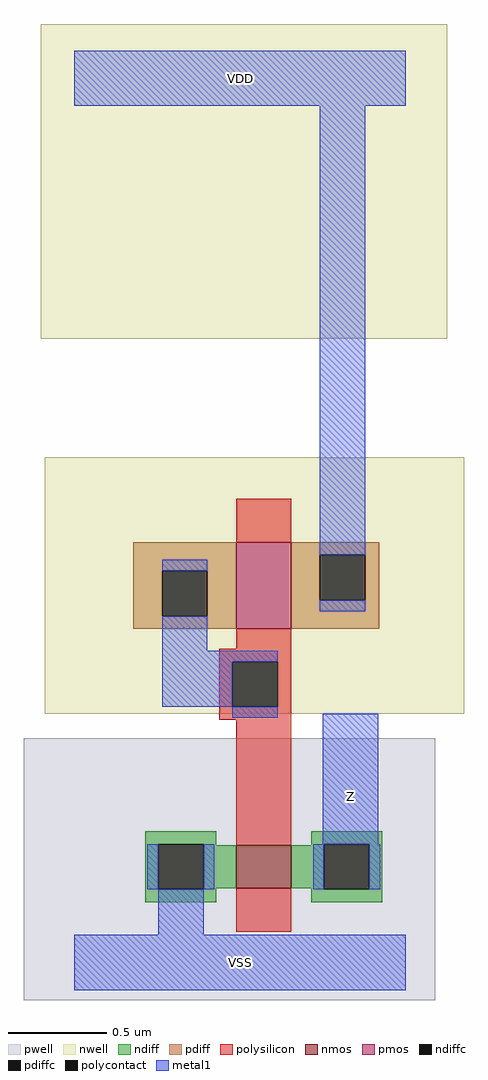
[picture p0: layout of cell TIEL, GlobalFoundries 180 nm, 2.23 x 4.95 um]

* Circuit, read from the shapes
.subckt TIEL VSS VDD Z
XM1 Z n1 VSS VSUBS nfet_03v3 w=0.22u l=0.28u
XM2 VDD n1 n1 n2 pfet_03v3 w=0.44u l=0.28u
.ends

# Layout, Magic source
magic
tech gf180mcuD
magscale 1 10
<< nwell >>
rect -34 632 378 951
rect -30 252 395 512
<< pwell >>
rect -51 -38 366 227
<< nmos >>
rect 164 75 220 119
<< pmos >>
rect 164 338 220 426
<< ndiff >>
rect 72 120 144 133
rect 72 74 85 120
rect 131 119 144 120
rect 240 120 312 133
rect 240 119 253 120
rect 131 75 164 119
rect 220 75 253 119
rect 131 74 144 75
rect 72 61 144 74
rect 240 74 253 75
rect 299 74 312 120
rect 240 61 312 74
<< pdiff >>
rect 60 397 164 426
rect 60 351 89 397
rect 135 351 164 397
rect 60 338 164 351
rect 220 413 309 426
rect 220 367 249 413
rect 295 367 309 413
rect 220 338 309 367
<< ndiffc >>
rect 85 74 131 120
rect 253 74 299 120
<< pdiffc >>
rect 89 351 135 397
rect 249 367 295 413
<< polysilicon >>
rect 164 426 220 470
rect 164 318 220 338
rect 147 305 220 318
rect 147 259 160 305
rect 206 259 220 305
rect 147 246 220 259
rect 164 119 220 246
rect 164 31 220 75
<< polycontact >>
rect 160 259 206 305
<< metal1 >>
rect 0 868 336 924
rect 249 413 295 868
rect 89 397 135 408
rect 249 356 295 367
rect 89 316 135 351
rect 89 305 206 316
rect 89 259 160 305
rect 160 248 206 259
rect 252 120 308 252
rect 74 74 85 120
rect 131 74 142 120
rect 242 74 253 120
rect 299 74 310 120
rect 85 28 131 74
rect 0 -28 336 28
<< labels >>
rlabel metal1 0 -28 336 28 0 VSS
port 1 nsew ground bidirectional
rlabel metal1 0 868 336 924 0 VDD
port 2 nsew power bidirectional
rlabel metal1 252 84 308 252 0 Z
port 3 nsew signal output
<< properties >>
string FIXED_BBOX 0 0 336 896
string fixed_BBOX 0 0 336 896
string LEFclass core
string LEFsite site056um
<< end >>
